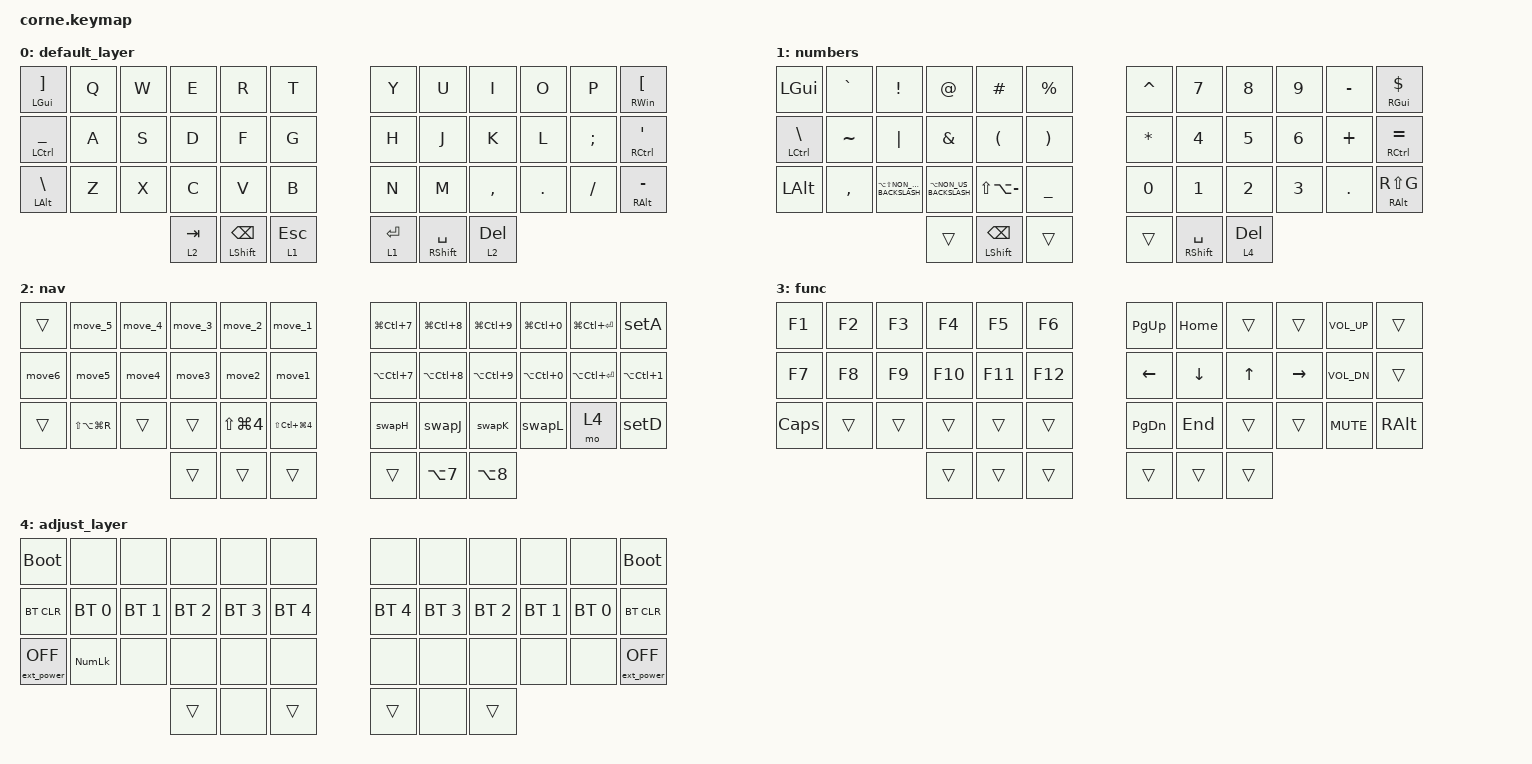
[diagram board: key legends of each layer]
/*
 * Copyright (c) 2020 The ZMK Contributors
 *
 * SPDX-License-Identifier: MIT
 */

#include <behaviors.dtsi>
#include <dt-bindings/zmk/bt.h>
#include <dt-bindings/zmk/ext_power.h>
#include <dt-bindings/zmk/keys.h>

#define DEF 0
#define LWR 1
#define RSE 2
#define ADJ 3

&lt { quick_tap_ms = <220>; };

&mt { quick_tap_ms = <220>; };

/ {
    macros {
        js_arrow: js_arrow {
            compatible = "zmk,behavior-macro";
            label = "JS_ARROW";
            #binding-cells = <0>;
            wait-ms = <40>;
            tap-ms = <40>;
            bindings = <&macro_tap>, <&kp EQUAL &kp GREATER_THAN &kp SPACE>;
        };

        swapH: swapH {
            compatible = "zmk,behavior-macro";
            #binding-cells = <0>;
            bindings = <&macro_tap>, <&kp LC(NUMBER_7)>, <&macro_tap>, <&kp H>;

            label = "SWAPH";
        };

        swapJ: swapJ {
            compatible = "zmk,behavior-macro";
            #binding-cells = <0>;
            bindings = <&macro_tap>, <&kp LC(NUMBER_7)>, <&macro_tap>, <&kp J>;

            label = "SWAPJ";
        };

        swapK: swapK {
            compatible = "zmk,behavior-macro";
            #binding-cells = <0>;
            bindings = <&macro_tap>, <&kp LC(NUMBER_7)>, <&macro_tap>, <&kp K>;

            label = "SWAPK";
        };

        swapL: swapL {
            compatible = "zmk,behavior-macro";
            #binding-cells = <0>;
            bindings = <&macro_tap>, <&kp LC(NUMBER_7)>, <&macro_tap>, <&kp L>;

            label = "SWAPL";
        };

        move1: move1 {
            compatible = "zmk,behavior-macro";
            #binding-cells = <0>;
            bindings =
                <&macro_tap>,
                <&kp LC(NUMBER_7)>,
                <&macro_tap>,
                <&kp LC(N7)>;

            label = "MOVE1";
        };

        move2: move2 {
            compatible = "zmk,behavior-macro";
            #binding-cells = <0>;
            bindings =
                <&macro_tap>,
                <&kp LC(NUMBER_7)>,
                <&macro_tap>,
                <&kp LC(N8)>;

            label = "MOVE2";
        };

        move3: move3 {
            compatible = "zmk,behavior-macro";
            #binding-cells = <0>;
            bindings =
                <&macro_tap>,
                <&kp LC(NUMBER_7)>,
                <&macro_tap>,
                <&kp LC(NUMBER_9)>;

            label = "MOVE3";
        };

        move4: move4 {
            compatible = "zmk,behavior-macro";
            #binding-cells = <0>;
            bindings =
                <&macro_tap>,
                <&kp LC(NUMBER_7)>,
                <&macro_tap>,
                <&kp LC(N0)>;

            label = "MOVE4";
        };

        move5: move5 {
            compatible = "zmk,behavior-macro";
            #binding-cells = <0>;
            bindings =
                <&macro_tap>,
                <&kp LC(NUMBER_7)>,
                <&macro_tap>,
                <&kp LC(RETURN)>;

            label = "MOVE5";
        };

        move_1: move_1 {
            compatible = "zmk,behavior-macro";
            #binding-cells = <0>;
            bindings =
                <&macro_tap>,
                <&kp LC(NUMBER_7)>,
                <&macro_tap>,
                <&kp LA(N7)>;

            label = "MOVE_1";
        };

        move_2: move_2 {
            compatible = "zmk,behavior-macro";
            #binding-cells = <0>;
            bindings =
                <&macro_tap>,
                <&kp LC(NUMBER_7)>,
                <&macro_tap>,
                <&kp LA(NUMBER_8)>;

            label = "MOVE_2";
        };

        move_3: move_3 {
            compatible = "zmk,behavior-macro";
            #binding-cells = <0>;
            bindings =
                <&macro_tap>,
                <&kp LC(NUMBER_7)>,
                <&macro_tap>,
                <&kp LA(NUMBER_9)>;

            label = "MOVE_3";
        };

        move_4: move_4 {
            compatible = "zmk,behavior-macro";
            #binding-cells = <0>;
            bindings =
                <&macro_tap>,
                <&kp LC(NUMBER_7)>,
                <&macro_tap>,
                <&kp LA(N0)>;

            label = "MOVE_4";
        };

        move_5: move_5 {
            compatible = "zmk,behavior-macro";
            #binding-cells = <0>;
            bindings =
                <&macro_tap>,
                <&kp LC(NUMBER_7)>,
                <&macro_tap>,
                <&kp LA(RETURN)>;

            label = "MOVE_5";
        };

        setA: setA {
            compatible = "zmk,behavior-macro";
            #binding-cells = <0>;
            bindings = <&macro_tap>, <&kp LC(NUMBER_7)>, <&macro_tap>, <&kp A>;

            label = "SETA";
        };

        setD: setD {
            compatible = "zmk,behavior-macro";
            #binding-cells = <0>;
            bindings = <&macro_tap>, <&kp LC(NUMBER_7)>, <&macro_tap>, <&kp D>;

            label = "SETD";
        };

        longtire: longtire {
            compatible = "zmk,behavior-macro";
            #binding-cells = <0>;
            bindings =
                <&macro_press>,
                <&kp LALT>,
                <&macro_tap>,
                <&kp KP_NUMBER_0 &kp KP_NUMBER_1 &kp KP_NUMBER_5 &kp KP_NUMBER_1>,
                <&macro_release>,
                <&kp LALT>;

            label = "LONGTIRE";
        };

        openquote: openquote {
            compatible = "zmk,behavior-macro";
            #binding-cells = <0>;
            bindings =
                <&macro_press>,
                <&kp LALT>,
                <&macro_tap>,
                <&kp KP_NUMBER_0 &kp KP_NUMBER_1 &kp KP_N7 &kp KP_NUMBER_1>,
                <&macro_release>,
                <&kp LALT>;

            label = "OPENQUOTE";
        };

        closequote: closequote {
            compatible = "zmk,behavior-macro";
            #binding-cells = <0>;
            bindings =
                <&macro_press>,
                <&kp LALT>,
                <&macro_tap>,
                <&kp KP_NUMBER_0 &kp KP_NUMBER_1 &kp KP_N8 &kp KP_N7>,
                <&macro_release>,
                <&kp LALT>;

            label = "CLOSEQUOTE";
        };

        move6: move6 {
            compatible = "zmk,behavior-macro";
            #binding-cells = <0>;
            bindings =
                <&macro_tap>,
                <&kp LC(NUMBER_7)>,
                <&macro_tap>,
                <&kp LC(NUMBER_1)>;

            label = "MOVE6";
        };
    };
};

/ {
    combos {
        compatible = "zmk,combos";

        lang_switch {
            bindings = <&kp LC(CARET)>;
            key-positions = <19 20>;
        };

        alfred {
            bindings = <&kp LA(SPACE)>;
            key-positions = <15 16>;
        };

        systemLang {
            bindings = <&kp RG(SPACE)>;
            key-positions = <18 20>;
        };

        capsword {
            bindings = <&caps_word>;
            key-positions = <3 4>;
        };

        copy {
            bindings = <&kp LG(C)>;
            key-positions = <28 27>;
        };

        paste {
            bindings = <&kp LG(V)>;
            key-positions = <27 29>;
        };
    };

    keymap {
        compatible = "zmk,keymap";

        default_layer {
            // ------------------------------------------------------------------------------------------------
            //| LGUI/] |  Q  |  W  |  E  |  R  |  T  |   |  Y  |  U   |  I  |  O  |  P  | RGUI/[ | 
            //| CTRL/` |  A  |  S  |  D  |  F  |  G  |   |  H  |  J   |  K  |  L  |  ;  | CTRL/' |
            //| LALT/\ |  Z  |  X  |  C  |  V  |  B  |   |  N  |  M   |  ,  |  .  |  /  | RALT/- |
            //                             | RSE | SPC | LWR |   | LWR | BKSP | RSE |

            bindings = <
&mt LGUI RIGHT_BRACKET  &kp Q  &kp W  &kp E      &kp R                &kp T           &kp Y         &kp U            &kp I      &kp O    &kp P     &mt RWIN LBKT
&mt LCTRL UNDER         &kp A  &kp S  &kp D      &kp F                &kp G           &kp H         &kp J            &kp K      &kp L    &kp SEMI  &mt RCTRL SQT
&mt LALT BSLH           &kp Z  &kp X  &kp C      &kp V                &kp B           &kp N         &kp M            &kp COMMA  &kp DOT  &kp FSLH  &mt RALT MINUS
                                      &lt 2 TAB  &mt LSHFT BACKSPACE  &lt 1 ESCAPE    &lt 1 RETURN  &mt RSHFT SPACE  &lt 2 DEL
            >;
        };

        numbers {
            // -----------------------------------------------------------------------------------------
            //|LGUI/CAPS |  *  |  7 |  8  |  9  |  +  |    |  !  |  @  |  #  |  $  |  %  | RGUI/F1 |
            //|CTRL/MENU |  /  |  4 |  5  |  6  |  -  |    |  ^  |  &  |  *  |  (  |  )  | CTRL/F2 |
            //|  LALT/=  |  0  |  1 |  4  |  3  |  .  |    |  ls |  F4 |  F5 |  F6 |  F7 | RALT/F3 |
            //                      | ADJ | ___ | ___ |    | ___ | ___ | ADJ |

            bindings = <
&kp LGUI             &kp GRAVE  &kp EXCLAMATION               &kp AT_SIGN               &kp HASH                  &kp PERCENT              &kp CARET     &kp NUMBER_7           &kp NUMBER_8  &kp NUMBER_9  &kp MINUS   &mt RIGHT_GUI DOLLAR
&mt LCTRL BACKSLASH  &kp TILDE  &kp PIPE                      &kp AMPERSAND             &kp LEFT_PARENTHESIS      &kp RIGHT_PARENTHESIS    &kp ASTERISK  &kp NUMBER_4           &kp NUMBER_5  &kp NUMBER_6  &kp PLUS    &mt RIGHT_CONTROL EQUAL
&kp LEFT_ALT         &kp COMMA  &kp LA(LS(NON_US_BACKSLASH))  &kp LA(NON_US_BACKSLASH)  &kp LS(LA(MINUS))         &kp UNDERSCORE           &kp NUMBER_0  &kp NUMBER_1           &kp NUMBER_2  &kp NUMBER_3  &kp PERIOD  &mt RIGHT_ALT RS(G)
                                                              &trans                    &mt LEFT_SHIFT BACKSPACE  &trans                   &trans        &mt RIGHT_SHIFT SPACE  &lt 4 DEL
            >;
        };

        nav {
            bindings = <
&trans  &move_5            &move_4  &move_3  &move_2               &move_1                     &kp LG(LC(NUMBER_7))  &kp LG(LC(NUMBER_8))  &kp LG(LC(NUMBER_9))  &kp LG(LC(NUMBER_0))  &kp LG(LC(RET))  &setA
&move6  &move5             &move4   &move3   &move2                &move1                      &kp LA(LC(NUMBER_7))  &kp LA(LC(NUMBER_8))  &kp LA(LC(NUMBER_9))  &kp LA(LC(NUMBER_0))  &kp LA(LC(RET))  &kp LA(LC(N1))
&trans  &kp LS(LA(LG(R)))  &trans   &trans   &kp LS(LG(NUMBER_4))  &kp LS(LC(LG(NUMBER_4)))    &swapH                &swapJ                &swapK                &swapL                &mo 4            &setD
                                    &trans   &trans                &trans                      &trans                &kp LA(NUMBER_7)      &kp LA(NUMBER_8)
            >;
        };

        func {
            // -----------------------------------------------------------------------------------------
            //| LGUI |  VOLU  |  PGUP  | PLAY | HOME | ___  |            | ___  | HOME | PLAY| PGUP | VOLU | RGUI |
            //| CTRL |  VOLD  |  LEFT  |  UP  | DOWN | RGHT |            | RGHT | DOWN | UP  | LEFT | VOLD | CTRL | 
            //| LALT |  MUTE  |  PGDN  |  ___ | END  | ___  |            | ___  | END  | ___ | PGDN | MUTE | RALT |
            //                          | ___ | ___  | ADJ  |            | ADJ  | ___  | ___ |

            bindings = <
&kp F1    &kp F2  &kp F3  &kp F4   &kp F5   &kp F6     &kp PAGE_UP    &kp HOME        &trans        &trans           &kp C_VOL_UP  &trans
&kp F7    &kp F8  &kp F9  &kp F10  &kp F11  &kp F12    &kp LEFT       &kp DOWN_ARROW  &kp UP_ARROW  &kp RIGHT_ARROW  &kp C_VOL_DN  &trans
&kp CAPS  &trans  &trans  &trans   &trans   &trans     &kp PAGE_DOWN  &kp END         &trans        &trans           &kp K_MUTE    &kp RALT
                          &trans   &trans   &trans     &trans         &trans          &trans
            >;
        };

        adjust_layer {
            // -----------------------------------------------------------------------------------------
            //| BLDR |     |     |     |     |     |   |     |     |     |     |     | BLDR |
            //| BTCLR| BT0 | BT1 | BT2 | BT3 | BT4 |   | BT4 | BT3 | BT2 | BT1 | BT0 | BTCLR|
            //|pwrOFF|NUMLK|     |     |     |     |   |     |     |     |     |     |      |
            //                   |     |     |     |   |     |     |     |

            bindings = <
&bootloader        &none         &none         &none         &none         &none           &none         &none         &none         &none         &none         &bootloader
&bt BT_CLR         &bt BT_SEL 0  &bt BT_SEL 1  &bt BT_SEL 2  &bt BT_SEL 3  &bt BT_SEL 4    &bt BT_SEL 4  &bt BT_SEL 3  &bt BT_SEL 2  &bt BT_SEL 1  &bt BT_SEL 0  &bt BT_CLR
&ext_power EP_OFF  &kp KP_NUM    &none         &none         &none         &none           &none         &none         &none         &none         &none         &ext_power EP_OFF
                                               &trans        &none         &trans          &trans        &none         &trans
            >;
        };
    };

    conditional_layers {
        compatible = "zmk,conditional-layers";

        activ-func {
            if-layers = <1 2>;
            then-layer = <3>;
        };
    };
};
